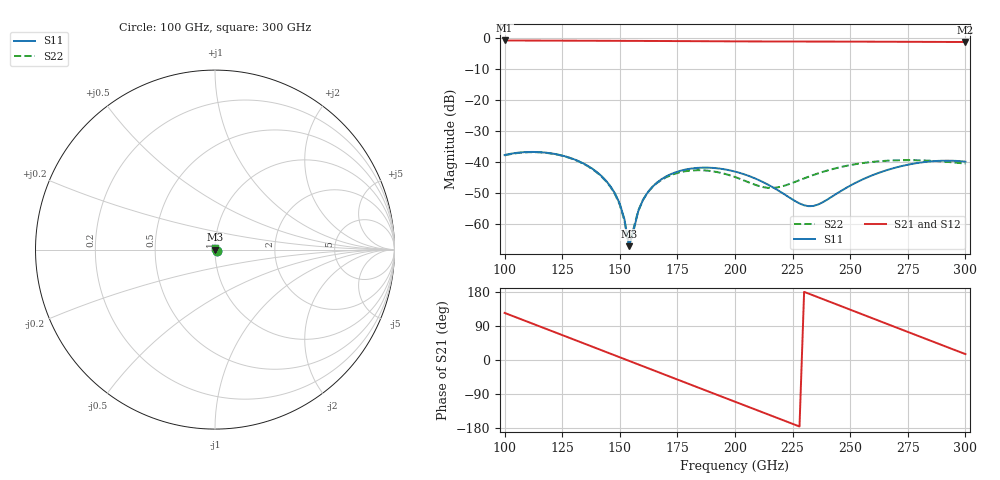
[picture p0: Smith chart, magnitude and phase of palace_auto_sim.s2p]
#  GHZ S DB R 50
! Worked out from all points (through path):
!   101 points, 100 GHz to 300 GHz, reference 50 ohm
!   highest |S21| = -0.80 dB at 100 GHz (marker M1); lowest = -1.3 dB at 300 GHz (marker M2)
!   group delay of S21, straight-line fit = 6.51 ps
!   lowest |S11| = -67.0 dB at 154 GHz (marker M3), VSWR 1.00, Z = 50 - j0.039 ohm
!   |S11| at or under -10 dB: start of sweep to end of sweep
!   |S22| runs from -67.0 to -36.8 dB; largest |S21 - S12| = 1e-13
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100  -37.68 -40.1  -0.80 124.3  -0.80 124.3  -37.80 -40.0
116  -36.79 -77.1  -0.84 86.9  -0.84 86.9  -36.86 -77.0
124  -37.68 -96.9  -0.86 68.1  -0.86 68.1  -37.74 -96.7
134  -40.32 -122.4  -0.88 44.7  -0.88 44.7  -40.41 -122.1
142  -44.42 -142.7  -0.90 25.9  -0.90 25.9  -44.57 -142.2
148  -50.16 -155.8  -0.92 11.9  -0.92 11.9  -50.43 -154.8
152  -58.31 -155.6  -0.93 2.5  -0.93 2.5  -58.80 -152.5
154  -67.03 -118.7  -0.93 -2.2  -0.93 -2.2  -66.99 -108.5
158  -55.81 -25.5  -0.94 -11.6  -0.94 -11.6  -55.58 -26.2
160  -52.24 -26.5  -0.95 -16.3  -0.95 -16.3  -52.18 -27.1
168  -45.52 -45.3  -0.97 -35.1  -0.97 -35.1  -45.73 -45.8
184  -41.81 -93.7  -1.03 -72.6  -1.03 -72.6  -42.57 -95.7
200  -43.01 -148.1  -1.09 -110.1  -1.09 -110.1  -44.77 -158.9
216  -47.90 149.1  -1.13 -147.4  -1.13 -147.4  -48.29 102.7
228  -53.27 79.1  -1.14 -175.5  -1.14 -175.5  -45.78 29.2
234  -54.08 27.3  -1.15 170.4  -1.15 170.4  -44.12 2.3
242  -51.12 -33.4  -1.16 151.6  -1.16 151.6  -42.28 -29.1
252  -46.76 -84.9  -1.17 128.1  -1.17 128.1  -40.67 -66.0
268  -42.08 -149.5  -1.21 90.5  -1.21 90.5  -39.45 -126.3
282  -39.96 159.4  -1.25 57.7  -1.25 57.7  -39.43 177.4
292  -39.50 123.7  -1.27 34.3  -1.27 34.3  -39.88 134.5
300  -39.82 94.6  -1.29 15.5  -1.29 15.5  -40.46 98.0
